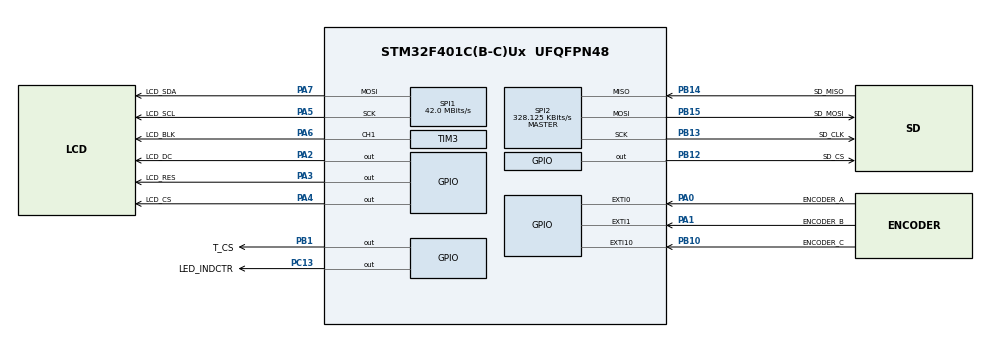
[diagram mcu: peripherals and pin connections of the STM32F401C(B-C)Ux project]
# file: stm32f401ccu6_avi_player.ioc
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Dma.Request0=SPI2_RX
Dma.Request1=SPI2_TX
Dma.Request2=SPI1_TX
Dma.SPI1_TX.2.Direction=DMA_MEMORY_TO_PERIPH
Dma.SPI1_TX.2.FIFOMode=DMA_FIFOMODE_ENABLE
Dma.SPI1_TX.2.FIFOThreshold=DMA_FIFO_THRESHOLD_FULL
Dma.SPI1_TX.2.Instance=DMA2_Stream3
Dma.SPI1_TX.2.MemBurst=DMA_MBURST_INC8
Dma.SPI1_TX.2.MemDataAlignment=DMA_MDATAALIGN_HALFWORD
Dma.SPI1_TX.2.MemInc=DMA_MINC_ENABLE
Dma.SPI1_TX.2.Mode=DMA_NORMAL
Dma.SPI1_TX.2.PeriphBurst=DMA_PBURST_SINGLE
Dma.SPI1_TX.2.PeriphDataAlignment=DMA_PDATAALIGN_HALFWORD
Dma.SPI1_TX.2.PeriphInc=DMA_PINC_DISABLE
Dma.SPI1_TX.2.Priority=DMA_PRIORITY_LOW
Dma.SPI2_RX.0.Direction=DMA_PERIPH_TO_MEMORY
Dma.SPI2_RX.0.FIFOMode=DMA_FIFOMODE_ENABLE
Dma.SPI2_RX.0.FIFOThreshold=DMA_FIFO_THRESHOLD_FULL
Dma.SPI2_RX.0.Instance=DMA1_Stream3
Dma.SPI2_RX.0.MemBurst=DMA_MBURST_INC8
Dma.SPI2_RX.0.MemDataAlignment=DMA_MDATAALIGN_BYTE
Dma.SPI2_RX.0.MemInc=DMA_MINC_ENABLE
Dma.SPI2_RX.0.Mode=DMA_NORMAL
Dma.SPI2_RX.0.PeriphBurst=DMA_PBURST_SINGLE
Dma.SPI2_RX.0.PeriphDataAlignment=DMA_PDATAALIGN_BYTE
Dma.SPI2_RX.0.PeriphInc=DMA_PINC_DISABLE
Dma.SPI2_RX.0.Priority=DMA_PRIORITY_MEDIUM
Dma.SPI2_TX.1.Direction=DMA_MEMORY_TO_PERIPH
Dma.SPI2_TX.1.FIFOMode=DMA_FIFOMODE_ENABLE
Dma.SPI2_TX.1.FIFOThreshold=DMA_FIFO_THRESHOLD_FULL
Dma.SPI2_TX.1.Instance=DMA1_Stream4
Dma.SPI2_TX.1.MemBurst=DMA_MBURST_INC8
Dma.SPI2_TX.1.MemDataAlignment=DMA_MDATAALIGN_BYTE
Dma.SPI2_TX.1.MemInc=DMA_MINC_ENABLE
Dma.SPI2_TX.1.Mode=DMA_NORMAL
Dma.SPI2_TX.1.PeriphBurst=DMA_PBURST_SINGLE
Dma.SPI2_TX.1.PeriphDataAlignment=DMA_PDATAALIGN_BYTE
Dma.SPI2_TX.1.PeriphInc=DMA_PINC_DISABLE
Dma.SPI2_TX.1.Priority=DMA_PRIORITY_MEDIUM
Mcu.Family=STM32F4
Mcu.Name=STM32F401C(B-C)Ux
Mcu.Package=UFQFPN48
NVIC.DMA1_Stream3_IRQn=true\:2\:0\:true\:false\:true\:false\:true\:true
NVIC.DMA1_Stream4_IRQn=true\:2\:0\:true\:false\:true\:false\:true\:true
NVIC.DMA2_Stream3_IRQn=true\:3\:0\:true\:false\:true\:false\:true\:true
NVIC.EXTI0_IRQn=true\:1\:0\:true\:false\:true\:true\:true\:true
NVIC.EXTI15_10_IRQn=true\:1\:0\:true\:false\:true\:true\:true\:true
NVIC.EXTI1_IRQn=true\:1\:0\:true\:false\:true\:true\:true\:true
NVIC.PriorityGroup=NVIC_PRIORITYGROUP_4
PA0-WKUP.GPIO_Label=ENCODER_A
PA0-WKUP.GPIO_ModeDefaultEXTI=GPIO_MODE_IT_RISING_FALLING
PA0-WKUP.GPIO_PuPd=GPIO_PULLUP
PA0-WKUP.Signal=GPXTI0
PA1.GPIO_Label=ENCODER_B
PA1.GPIO_ModeDefaultEXTI=GPIO_MODE_IT_RISING_FALLING
PA1.GPIO_PuPd=GPIO_PULLUP
PA1.Signal=GPXTI1
PA13.Mode=Serial_Wire
PA13.Signal=SYS_JTMS-SWDIO
PA14.Mode=Serial_Wire
PA14.Signal=SYS_JTCK-SWCLK
PA2.GPIO_Label=LCD_DC
PA2.GPIO_Speed=GPIO_SPEED_FREQ_HIGH
PA2.PinState=GPIO_PIN_SET
PA2.Signal=GPIO_Output
PA3.GPIO_Label=LCD_RES
PA3.GPIO_Speed=GPIO_SPEED_FREQ_HIGH
PA3.PinState=GPIO_PIN_SET
PA3.Signal=GPIO_Output
PA4.GPIO_Label=LCD_CS
PA4.GPIO_PuPd=GPIO_PULLUP
PA4.GPIO_Speed=GPIO_SPEED_FREQ_HIGH
PA4.PinState=GPIO_PIN_SET
PA4.Signal=GPIO_Output
PA5.GPIO_Label=LCD_SCL
PA5.GPIO_PuPd=GPIO_NOPULL
PA5.Mode=TX_Only_Simplex_Unidirect_Master
PA5.Signal=SPI1_SCK
PA6.GPIO_Label=LCD_BLK
PA6.Signal=S_TIM3_CH1
PA7.GPIO_Label=LCD_SDA
PA7.GPIO_PuPd=GPIO_NOPULL
PA7.Mode=TX_Only_Simplex_Unidirect_Master
PA7.Signal=SPI1_MOSI
PB1.GPIO_Label=T_CS
PB1.GPIO_PuPd=GPIO_PULLUP
PB1.GPIO_Speed=GPIO_SPEED_FREQ_HIGH
PB1.PinState=GPIO_PIN_SET
PB1.Signal=GPIO_Output
PB10.GPIO_Label=ENCODER_C
PB10.GPIO_ModeDefaultEXTI=GPIO_MODE_IT_RISING_FALLING
PB10.GPIO_PuPd=GPIO_PULLUP
PB10.Signal=GPXTI10
PB12.GPIO_Label=SD_CS
PB12.GPIO_PuPd=GPIO_PULLUP
PB12.GPIO_Speed=GPIO_SPEED_FREQ_HIGH
PB12.PinState=GPIO_PIN_SET
PB12.Signal=GPIO_Output
PB13.GPIO_Label=SD_CLK
PB13.GPIO_PuPd=GPIO_PULLUP
PB13.Mode=Full_Duplex_Master
PB13.Signal=SPI2_SCK
PB14.GPIO_Label=SD_MISO
PB14.GPIO_PuPd=GPIO_PULLUP
PB14.Mode=Full_Duplex_Master
PB14.Signal=SPI2_MISO
PB15.GPIO_Label=SD_MOSI
PB15.GPIO_PuPd=GPIO_PULLUP
PB15.Mode=Full_Duplex_Master
PB15.Signal=SPI2_MOSI
PC13-ANTI_TAMP.GPIO_Label=LED_INDCTR
PC13-ANTI_TAMP.PinState=GPIO_PIN_SET
PC13-ANTI_TAMP.Signal=GPIO_Output
PH0\ -\ OSC_IN.Mode=HSE-External-Oscillator
PH0\ -\ OSC_IN.Signal=RCC_OSC_IN
PH1\ -\ OSC_OUT.Mode=HSE-External-Oscillator
PH1\ -\ OSC_OUT.Signal=RCC_OSC_OUT
ProjectManager.HeapSize=0x200
ProjectManager.StackSize=0x400
ProjectManager.TargetToolchain=STM32CubeIDE
RCC.48MHZClocksFreq_Value=42000000
RCC.AHBFreq_Value=84000000
RCC.APB1CLKDivider=RCC_HCLK_DIV2
RCC.APB1Freq_Value=42000000
RCC.APB1TimFreq_Value=84000000
RCC.APB2Freq_Value=84000000
RCC.APB2TimFreq_Value=84000000
RCC.CortexFreq_Value=84000000
RCC.EnbaleCSS=true
RCC.HCLKFreq_Value=84000000
RCC.HSE_VALUE=25000000
RCC.HSI_VALUE=16000000
RCC.LSE_VALUE=32768
RCC.PLLM=25
RCC.PLLN=168
RCC.PLLSourceVirtual=RCC_PLLSOURCE_HSE
RCC.SYSCLKFreq_VALUE=84000000
RCC.SYSCLKSource=RCC_SYSCLKSOURCE_PLLCLK
RCC.VCOOutputFreq_Value=168000000
RCC.VDD_VALUE=3.4
SH.S_TIM3_CH1.0=TIM3_CH1,PWM Generation1 CH1
SPI1.CLKPolarity=SPI_POLARITY_LOW
SPI1.CalculateBaudRate=42.0 MBits/s
SPI1.DataSize=SPI_DATASIZE_16BIT
SPI1.Direction=SPI_DIRECTION_2LINES
SPI1.Mode=SPI_MODE_MASTER
SPI1.VirtualType=VM_MASTER
SPI2.BaudRatePrescaler=SPI_BAUDRATEPRESCALER_128
SPI2.CalculateBaudRate=328.125 KBits/s
SPI2.DataSize=SPI_DATASIZE_8BIT
SPI2.Direction=SPI_DIRECTION_2LINES
SPI2.Mode=SPI_MODE_MASTER
SPI2.VirtualType=VM_MASTER
TIM3.Channel-PWM\ Generation1\ CH1=TIM_CHANNEL_1
TIM3.Period=209
TIM3.Prescaler=999
TIM3.Pulse-PWM\ Generation1\ CH1=105
board=custom

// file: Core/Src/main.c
/* USER CODE BEGIN Header */
/*
 *  Copyright (C)2019-2023, VadRov, all right reserved.
 *
 *  Видеоплеер для проигрывания AVI-файлов (файл с расширением avi, контейнер riff)
 *
 *  Допускается свободное распространение.
 *  При любом способе распространения указание автора ОБЯЗАТЕЛЬНО.
 *  В случае внесения изменений и распространения модификаций указание первоначального автора ОБЯЗАТЕЛЬНО.
 *  Распространяется по типу "как есть", то есть использование осуществляется на свой страх и риск.
 *  Автор не предоставляет никаких гарантий.
 *
 *  В файле display_config.h (папка Display) определяется разрешение применяемого дисплея (320x240 или
 *  240x240), а также контроллер дисплея: ST7789 либо ILI9341. Ненужные строки комментируются, а остаются
 *  только те, которые соответствуют фактически применяемому дисплейному модулю. По умолчанию проект настроен
 *  на использование дисплейного модуля разрешением 320x240 пикселей на контроллере ILI9341.
 *
 *  Требования к формату AVI:
 *  - поток видео mjpeg (motion jpeg), т.е. видеокадры должны быть закодированы jpeg кодеком;
 *  - поток аудио mp3, т.е. звук должен быть закодирован mp3 кодеком.
 *
 *  Размер кадра изображения выбирайте исходя из параметров имеющегося дисплея.
 *  Для преобразования видеофайла к поддерживаемому плеером формату рекомендуется использовать
 *  библиотеку ffmpeg. Например, следующая командная строка преобразует mp4-видео в
 *  поддерживаемый плеером формат avi с размером кадра 320х240, частотой 25 кадров в секунду,
 *  с качеством кодирования 15:
 *  	ffmpeg -i video.mp4 -c:a mp3 -c:v mjpeg -s 320x240 -r 25 -q 15 video.avi
 *  где:
 *  	-i video.mp4 - указание на файл-источник, который вы хотите преобразовать в поддерживаемый
 *  плееером формат avi;
 *  	video.avi - выходной файл с расширением avi, в котором будет сохранен результат преобразования;
 *  	-c:a mp3 - указание на то, что "звуковая дорожка" (аудиопоток) в выходном файле должна быть в
 *  формате кодека mp3;
 *  	-c:v mjpeg - указание на то, что "видео дорожка" (видеопоток) в выходном файле должна быть в формате
 *  кодека mjpeg (набор картинок, закодированных кодеком jpeg, т.н., motion jpeg);
 *  	-s 320x240 - указание на размер видеокадра в выходном файле avi (ширина, высота);
 *  	-r 25 - указание на частоту видеокадров в выходном файле avi (кадров в секунду);
 *  	-q 15 - указание на качество кодирования файла avi (от 1 (наилучшее) до 31 (наихудшее)).
 *  Качество звука можно задать ключом -b, означающим bitrate (скорость потока в бит/с).
 *  Например, такой ключ, как,  -b:a 128k, задаст для звукового потока скорость в 128 кбит/с, что считается
 *  для кодека mp3 начальным уровнем при кодировании музыкальных данных (32-96 кбит/с достаточно для
 *  кодирования речи, а от 96 кбит/с и более - музыки низкого качества). Потока в 256 кбит/с достаточно
 *  для высокого качества музыки при кодировании mp3. 320 кбит/с - предел для кодека mp3.
 *  При преобразовании видео учитывайте соотношение сторон кадра исходного видео. Например, если
 *  исходное видео имело соотношение сторон кадра 16:9, то при использовании дисплея с шириной 320
 *  пикселей, высота выходного кадра должна быть 180 пикселей. Т.е. параметр s для приведенного
 *  примера должен быть задан в виде 320х180. Если соотношение сторон исходного кадра 4:3, то при
 *  использовании дисплея с шириной 320 пикселей высота выходного кадра должна быть 240 пикселей.
 *  Т.е. параметр s для этого примера должен быть задан в виде 320х240.
 *  Параметр q определяет качество кодирования и может принимать значения от 1 до 31. С увеличением
 *  q качество снижается, а с уменьшением - увеличивается. Этот параметр, естественно, влияет
 *  на производительность программного декодера jpeg. Золотая середина этого параметра 15-20. При значении 15
 *  для stm32f401ccu6, работающем на частоте 84 МГц, декодер jpeg для кадра размером 320х240 показывает
 *  производительность от 11 до 25 кадров в секунду (40 - 90 мс на декодирование одного кадра изображения),
 *  одновременно декодируя mp3 поток.
 *  Плеер обеспечивает неплохую синхронизацию аудио и видеопотоков. Причем, подсчет времени
 *  воспроизведения, а, соответственно, и синхронизация аудио с видео осуществляются по прерываниям
 *  потока DMA, обслуживающего DAC. В прерывании потока DMA, обслуживающего DAC, увеличивается счетчик
 *  длительности воспроизведения, рассчитываемой по аудиокадрам, на величину длительности воспроизведения звукового
 *  кадра, определяемую по формуле:
 *  						d = 1000000 * samples / samplerate,
 *  где samples - количество сэмплов в кадре, samplerate - частота дискретизации/сэмплирования(Гц),
 *  d - длительность воспроизведения звукового кадра (мкс).
 *	Таким образом, при воспроизведении нет привязки к реальному времени. Ход внутреннего времени плеера
 *	задает тактирование модуля I2S. Расхождение от реального времени определяется разницей между заданной
 *	и реальной частотой дискретизации/сэмплирования. Так, для частоты дискретизации 44100 Гц реальная
 *	частота дискретизации составляет 44100.46875 Гц при 16-битном формате данных и 44099.50781 Гц
 *	при 32-битном формате данных в случае использования кварцевого резонатора на 25 Мгц и встроенного модуля
 *	I2S PLL stm32f401ccu6. Т.е. в обоих случаях ошибка не превышает 0.0011% (см. таблицу 91, RM0368 REV 5).
 *	Синхронизация аудио и видео осуществляется в пределах времени отображения одного видеокадра. Это время
 *	определяется из соответствующего поля avi файла (dwMicroSecPerFrame, время отображения кадра в мкс).
 *	С каждым новым видеокадром (не важно при этом пропущен он или показан) общее время воспроизведения,
 *	рассчитываемое по видеокадрам, увеличивается на указанную величину. В свою очередь, с каждым
 *	воспроизведенным аудиокадром увеличивается на величину d общее время воспроизведения, рассчитываемое
 *	по аудиокадрам (в прерывании потока DMA, обслуживающего DAC). По разнице между этими значениями времени
 *	плеер принимает одно из трех решений:
 *		 - декодировать видеокадр, если разница времени не превышает длительности отображения одного
 *		 видеокадра;
 *		 - пропустить декодирование видеокадра (переход на следующий видеокадр с инкрементом счетчика
 *		 воспроизведения для видео), если время, рассчитываемое по видеокадрам, отстает от времени,
 *		 рассчитанного по воспроизведенным аудиокадрам;
 *		 - организовать задержку, равную разнице времени (после чего перейти к декодированию кадра), если
 *		 время, расчитанное по видеокадрам, превышает время, рассчитанное по аудиокадрам.
 *
 *  Демонстрируемый проект использует следующие драйвера, модули, библиотеки ...:
 *
 *  Для декодирования jpeg изображений используется модифицированная и оптимизированная для stm32
 *  библиотека TJpgDec - Tiny JPEG Decompressor R0.03 (папка JPEG)
 *  Portions copyright (C) 2021, ChaN,   all right reserved.
 *  Portions сopyright (C) 2022-2023, VadRov, all right reserved.
 *
 *  Для работы с SD картой используется драйвер SD карты (папка FATFS)
 *  Portions copyright (C) 2014, ChaN, all rights reserved.
 *  Portions copyright (C) 2017, kiwih, all rights reserved.
 *  Portions сopyright (C) 2019, VadRov, all right reserved.
 *
 *  Для работы с файловой системой используется библиотека FatFs -
 *  Generic FAT Filesystem Module  R0.15 w/patch1 (папка FATFS)
 *  Copyright (C) 2022, ChaN, all right reserved.
 *
 *  Драйвер DAC на базе PCM5102 (папка PCM5102)
 *  Copyright (C) 2019, VadRov, all right reserved.
 *
 *  Драйвер дисплея V1.4 с вариантом "ASM-турбо" (папка Display)
 *  Copyright (C) 2019-2023 VadRov, all right reserved.
 *
 *  Fixed-point MP3 decoder (папка MP3Helix)
 *  Portions Copyright (c) 1995-2002 RealNetworks, Inc. All Rights Reserved.
 *
 *  Файловый менеджер (папка FileManager)
 *  Copyright (C) 2022, VadRov, all right reserved.
 *
 *  Модуль для работы с кнопоками (папка Keyboard)
 *  Copyright (C) 2021, VadRov, all right reserved.
 *
 *  Графическая библиотека для работы с объектами-примитивами
 *  в двумерном пространстве microGL2D (папка MicroGL2D)
 *  Copyright (C) 2022, VadRov, all right reserved.
 *
 *  Драйвер энкодера для STM32F4 (папка Encoder)
 *  Copyright (C) 2019, VadRov, all right reserved.
 *
 *  Процедуры работы со строками (папка MyString)
 *  Copyright (C) 2019, VadRov, all right reserved.
 *
 *  https://www.youtube.com/@VadRov
 *  https://dzen.ru/vadrov
 *  https://vk.com/vadrov
 *  https://t.me/vadrov_channel
 */
/* USER CODE END Header */
#include "main.h"

/* USER CODE BEGIN Includes */
#include "display.h" 		/* Драйвер/библиотека дисплея */
#include "display_config.h" /* Конфигрурация дисплея (там настройки для вашего дисплейного модуля) */
#if defined(LCD_SIZE_240X240)
#define DISPLAY_SIZE1		240
#define DISPLAY_SIZE2		240
#elif defined(LCD_SIZE_320X240)
#define DISPLAY_SIZE1		320
#define DISPLAY_SIZE2		240
#endif
#if defined(LCD_ILI9341_DRIVER)
#include "ili9341.h" 		/* Поддержка дисплея на базе контроллера ili9341 */
#define DISPLAY_CONTROLLER_WIDTH	ILI9341_CONTROLLER_WIDTH
#define DISPLAY_CONTROLLER_HEIGHT	ILI9341_CONTROLLER_HEIGHT
#define DISPLAY_Init		ILI9341_Init
#define DISPLAY_SetWindow	ILI9341_SetWindow
#define DISPLAY_SleepIn		ILI9341_SleepIn
#define DISPLAY_SleepOut	ILI9341_SleepOut
#elif defined(LCD_ST7789_DRIVER)
#include "st7789.h" 		/* Поддержка дисплея на базе контроллера st7789 */
#define DISPLAY_CONTROLLER_WIDTH	ST7789_CONTROLLER_WIDTH
#define DISPLAY_CONTROLLER_HEIGHT	ST7789_CONTROLLER_HEIGHT
#define DISPLAY_Init		ST7789_Init
#define DISPLAY_SetWindow	ST7789_SetWindow
#define DISPLAY_SleepIn		ST7789_SleepIn
#define DISPLAY_SleepOut	ST7789_SleepOut
#endif
#include "pcm5102.h" 		/* драйвер DAC PCM5102 */
#include "ff.h"		 		/* библиотека FatFS */
#include "avi.h"	 		/* плеер AVI */
#include "filemanager.h"	/* файловый менеджер */
#include "keyboard.h"		/* модуль работы с кнопками */
#include "encoder.h"		/* драйвер энкодера */
/* USER CODE END Includes */

/* USER CODE BEGIN PTD */

//счетчик "системного времени", мс
volatile uint32_t millis = 0;

//Переменные для библиотеки FatFs
char Path[4];
FATFS FatFS;

//Обработчик энкодера
ENCODER_Handler encoder1;

/* USER CODE END PTD */

void SystemClock_Config(void);
static void MX_GPIO_Init(void);
static void MX_DMA_Init(void);
static void MX_SPI2_Init(void);
static void MX_SPI1_Init(void);
static void MX_TIM3_Init(void);

/* USER CODE BEGIN 0 */

static void DWT_init (void)
{
	if (!(CoreDebug->DEMCR & CoreDebug_DEMCR_TRCENA_Msk))	{
		CoreDebug->DEMCR |= CoreDebug_DEMCR_TRCENA_Msk;
	#ifdef __CORE_CM7_H_GENERIC
	        DWT->LAR = 0xC5ACCE55;  //разблокирование доступа к DWT регистру
	#endif
	   DWT->CYCCNT = 0;
	   DWT->CTRL |= DWT_CTRL_CYCCNTENA_Msk;
	}
}

/* USER CODE END 0 */

int main(void)
{
  /* USER CODE BEGIN 1 */
	/* включаем кэширование инструкций, кэширование данных и систему предварительной выборки инструкций */
	FLASH->ACR |= (0x1UL << 9U) | (0x1UL << 10U) | (0x1UL << 8U);
  /* USER CODE END 1 */

  /* MCU Configuration--------------------------------------------------------*/

  /* Reset of all peripherals, Initializes the Flash interface and the Systick. */
  LL_APB2_GRP1_EnableClock(LL_APB2_GRP1_PERIPH_SYSCFG);
  LL_APB1_GRP1_EnableClock(LL_APB1_GRP1_PERIPH_PWR);

  /* System interrupt init*/
  NVIC_SetPriorityGrouping(NVIC_PRIORITYGROUP_4);

  /* SysTick_IRQn interrupt configuration */
  NVIC_SetPriority(SysTick_IRQn, NVIC_EncodePriority(NVIC_GetPriorityGrouping(),15, 0));

  /* Configure the system clock */
  SystemClock_Config();

  /* USER CODE BEGIN SysInit */
	//настраиваем системный таймер (прерывания 1000 раз в секунду)
	SysTick_Config(SystemCoreClock/1000);
  /* USER CODE END SysInit */

  /* Initialize all configured peripherals */
  MX_GPIO_Init();
  MX_DMA_Init();
  MX_SPI2_Init();
  MX_SPI1_Init();
  MX_TIM3_Init();
  /* USER CODE BEGIN 2 */

	//Инициализация I2S3
    Init_DAC();
	DWT_init();

	//------------------- Настройка параметров и инициализация дисплея ---------------------
	LCD_BackLight_data bl_dat = { .htim_bk = TIM3,
		  	  	  	  	  	  	  .channel_htim_bk = LL_TIM_CHANNEL_CH1,
    							  .blk_port = 0,
    							  .blk_pin = 0,
    							  .bk_percent = 75 };

	LCD_DMA_TypeDef hdma_spi1_tx = { .dma = DMA2,
		  	  	  	  	  	  	     .stream = LL_DMA_STREAM_3 };

	LCD_SPI_Connected_data spi_dat = { .spi = SPI1,
  		  							   .dma_tx = hdma_spi1_tx,
   									   .reset_port = LCD_RES_GPIO_Port,
   									   .reset_pin = LCD_RES_Pin,
   									   .dc_port = LCD_DC_GPIO_Port,
   									   .dc_pin = LCD_DC_Pin,
   									   .cs_port = LCD_CS_GPIO_Port,
   									   .cs_pin = LCD_CS_Pin  };
#ifndef LCD_DYNAMIC_MEM
LCD_Handler lcd1;
#endif
LCD = LCD_DisplayAdd( LCD,
#ifndef LCD_DYNAMIC_MEM
	  	  	  	  	  &lcd1,
#endif
					  DISPLAY_SIZE1,
					  DISPLAY_SIZE2,
					  DISPLAY_CONTROLLER_WIDTH,
					  DISPLAY_CONTROLLER_HEIGHT,
					  /* Задаем смещение по ширине и высоте для нестандартных или бракованных дисплеев: */
					  0,	/* смещение по ширине дисплейной матрицы */
					  0,	/* смещение по высоте дисплейной матрицы */
					  PAGE_ORIENTATION_LANDSCAPE,
					  DISPLAY_Init,
					  DISPLAY_SetWindow,
					  DISPLAY_SleepIn,
					  DISPLAY_SleepOut,
					  &spi_dat,
					  LCD_DATA_16BIT_BUS,
					  bl_dat );

	LCD_Handler *lcd = LCD; //указатель на первый дисплей в списке
	LCD_Init(lcd);
	LCD_Fill(lcd, 0x319bb1);
	//------------------------------------------------------------------------------------------

	//----------------------------------- Монтирование диска -----------------------------------
	(void)f_mount(&FatFS, Path, 0);
	//------------------------------------------------------------------------------------------

	/* ---------------------------- Настройка файлового менеджера ---------------------------- */
	/* Определение цветовой схемы */
	File_Manager_Color_Scheme color_scheme_pl = { COLOR_YELLOW,		/* цвет текста наименования каталога */
			  	  	  	  	  	  	  	  	  	  COLOR_WHITE,		/* цвет текста наименования файла */
												  COLOR_BLACK,		/* цвет текста выбранного файла/каталога */
												  0x319bb1,			/* цвет фона окна менеджера (для пустых строк) */
												  0x319bb1,			/* цвет фона четных строк */
												  0x319bb1,			/* цвет фона нечетных строк */
												  COLOR_LIGHTGREY,	/* цвет курсора текущего файла/каталога */
												  COLOR_LIGHTGREY,	/* цвет ползунка вертикальной прокрутки */
												  0x319bb1,			/* цвет полосы вертикальной прокрутки */
												  1					/* флаг закрашивания курсора:
																  	  	  0 - текст выбранного файла/каталога обводится
																  	  	  	  прямоугольником цвета курсора (cursor_color).
														 	 	  	  	  >0 - фон текста выбранного файла/каталога приравнивается
														 	 	  	  	  	  цвету курсора (cursor_color) */
												 	 };

	File_Manager_Handler *fm = FileManagerNew();	/* Создание обработчика файлового менеджера */
	fm->SetDisplay(fm, lcd);						/* Дисплей, на который выводится файловый менеджер (указатель) */
	fm->SetWin(fm, 0, 0, lcd->Width, lcd->Height);/* Параметры окна файлового менеджера:
	  	  	  	  	  	  	  	  	  	  	  	  	   - позиция левого верхнего угла окна по горизонтали;
	  	  	  	  	  	  	  	  	  	  	  	  	   - позиция левого верхнего угла окна по вертикали;
	  	  	  	  	  	  	  	  	  	  	  	  	   - ширина окна;
	  	  	  	  	  	  	  	  	  	  	  	  	   - высота окна. */
	fm->SetColor(fm, &color_scheme_pl);				 /* Цветовая схема (указатель) */
	fm->SetFont(fm, &Font_8x13);					 /* Шрифт (указатель) */
	fm->SetKeys(fm, KEYB_UP, KEYB_DOWN, KEYB_RIGHT); /* Кнопки управления:
	   	   	   	   	   	   	   	   	   	   	   	   	    - номер бита кнопки вверх;
	   	   	   	   	   	   	   	   	   	   	   	   	    - номер бита кнопки вниз;
	   	   	   	   	   	   	   	   	   	   	   	   	    - номер бита кнопки ввод/выбор. */
	//-----------------------------------------------------------------------------------------

	//----------------------------------- Настройка энкодера ----------------------------------
	//Будем работать с модулем Keyboard и эмулировать для него нажатие кнопок через
	//специальную функцию, связывающую обработчик энкодера с модулем для работы с кнопками.
	//Такую роль выполняет функция EncoderEventToKeyboard, находящаяся в файле stm32f4xx_it.c
	KEYB_all_button = 3; //Используем 3 кнопки для модуля Keyboard
	//Инициализируем обработчик энкодера
	EncoderInit(&encoder1,
				ENCODER_A_GPIO_Port,
				ENCODER_A_Pin,
				ENCODER_B_GPIO_Port,
				ENCODER_B_Pin,
				ENCODER_C_GPIO_Port,
				ENCODER_C_Pin);
	EncoderSetInversion(&encoder1, ENCODER_INV_OFF); //Если энкодер работает в противоположную сторону
													 //от ожидаемого направления, то здесь можно задать
													 //инверсию для энкодера, передав функции параметр ENCODER_INV_ON.
													 //Это позволит не переподключать выводы энкодера A и B.
	//------------------------------------------------------------------------------------------

	//Заставка с информацией о программе и авторе
	AVIIntro(lcd);

	uint8_t f_popup = 1;
  /* USER CODE END 2 */

  /* Infinite loop */
  /* USER CODE BEGIN WHILE */
    while (1)
    {
		/* Заливаем дисплей синим цветом (цветом фона файлового менеджера) */
    	LCD_Fill(lcd, 0x319bb1);
		/* "Всплывающее" окно файлового менеджера */
		if (f_popup) {
			FileManagerPopupWin(fm, 5);
			f_popup = 0;
		}
		/* Запуск менеджера файлов */
		fm->Show(fm);
		/* Проверка статуса завершения работы менеджера файлов */
		if (fm->GetStatus(fm) == File_Manager_OK) { /* Завершение без ошибок с выбором файла? */
			/* Запускаем видеооплеер */
			PlayAVI(fm->GetFilePath(fm), fm->GetFileName(fm), lcd, 0, 0, lcd->Width, lcd->Height);
		}
		else {
			/* Выводим сообщение, что работа файлового менеджера завершена с ошибкой */
			LCD_WriteString(lcd, 20, 0, "Error FileManager!", fm->font, fm->color_scheme->text_color_file, fm->color_scheme->bg_color, LCD_SYMBOL_PRINT_FAST);
			/* Ожидаем нажатия любой кнопки */
			while(!KEYB_kbhit()) { }
		}

    /* USER CODE END WHILE */

    }
}

void SystemClock_Config(void)
{
  LL_FLASH_SetLatency(LL_FLASH_LATENCY_2);
  while(LL_FLASH_GetLatency()!= LL_FLASH_LATENCY_2)
  {
  }
  LL_PWR_SetRegulVoltageScaling(LL_PWR_REGU_VOLTAGE_SCALE2);
  LL_RCC_HSE_Enable();

   /* Wait till HSE is ready */
  while(LL_RCC_HSE_IsReady() != 1)
  {

  }
  LL_RCC_HSE_EnableCSS();
  LL_RCC_PLL_ConfigDomain_SYS(LL_RCC_PLLSOURCE_HSE, LL_RCC_PLLM_DIV_25, 168, LL_RCC_PLLP_DIV_2);
  LL_RCC_PLL_Enable();

   /* Wait till PLL is ready */
  while(LL_RCC_PLL_IsReady() != 1)
  {

  }
  while (LL_PWR_IsActiveFlag_VOS() == 0)
  {
  }
  LL_RCC_SetAHBPrescaler(LL_RCC_SYSCLK_DIV_1);
  LL_RCC_SetAPB1Prescaler(LL_RCC_APB1_DIV_2);
  LL_RCC_SetAPB2Prescaler(LL_RCC_APB2_DIV_1);
  LL_RCC_SetSysClkSource(LL_RCC_SYS_CLKSOURCE_PLL);

   /* Wait till System clock is ready */
  while(LL_RCC_GetSysClkSource() != LL_RCC_SYS_CLKSOURCE_STATUS_PLL)
  {

  }
  LL_Init1msTick(84000000);
  LL_SetSystemCoreClock(84000000);
  LL_RCC_SetTIMPrescaler(LL_RCC_TIM_PRESCALER_TWICE);
}

static void MX_SPI1_Init(void)
{

  LL_SPI_InitTypeDef SPI_InitStruct = {0};

  LL_GPIO_InitTypeDef GPIO_InitStruct = {0};

  /* Peripheral clock enable */
  LL_APB2_GRP1_EnableClock(LL_APB2_GRP1_PERIPH_SPI1);

  LL_AHB1_GRP1_EnableClock(LL_AHB1_GRP1_PERIPH_GPIOA);
  /**SPI1 GPIO Configuration
  PA5   ------> SPI1_SCK
  PA7   ------> SPI1_MOSI
  */
  GPIO_InitStruct.Pin = LCD_SCL_Pin|LCD_SDA_Pin;
  GPIO_InitStruct.Mode = LL_GPIO_MODE_ALTERNATE;
  GPIO_InitStruct.Speed = LL_GPIO_SPEED_FREQ_VERY_HIGH;
  GPIO_InitStruct.OutputType = LL_GPIO_OUTPUT_PUSHPULL;
  GPIO_InitStruct.Pull = LL_GPIO_PULL_NO;
  GPIO_InitStruct.Alternate = LL_GPIO_AF_5;
  LL_GPIO_Init(GPIOA, &GPIO_InitStruct);

  /* SPI1 DMA Init */

  /* SPI1_TX Init */
  LL_DMA_SetChannelSelection(DMA2, LL_DMA_STREAM_3, LL_DMA_CHANNEL_3);

  LL_DMA_SetDataTransferDirection(DMA2, LL_DMA_STREAM_3, LL_DMA_DIRECTION_MEMORY_TO_PERIPH);

  LL_DMA_SetStreamPriorityLevel(DMA2, LL_DMA_STREAM_3, LL_DMA_PRIORITY_LOW);

  LL_DMA_SetMode(DMA2, LL_DMA_STREAM_3, LL_DMA_MODE_NORMAL);

  LL_DMA_SetPeriphIncMode(DMA2, LL_DMA_STREAM_3, LL_DMA_PERIPH_NOINCREMENT);

  LL_DMA_SetMemoryIncMode(DMA2, LL_DMA_STREAM_3, LL_DMA_MEMORY_INCREMENT);

  LL_DMA_SetPeriphSize(DMA2, LL_DMA_STREAM_3, LL_DMA_PDATAALIGN_HALFWORD);

  LL_DMA_SetMemorySize(DMA2, LL_DMA_STREAM_3, LL_DMA_MDATAALIGN_HALFWORD);

  LL_DMA_EnableFifoMode(DMA2, LL_DMA_STREAM_3);

  LL_DMA_SetFIFOThreshold(DMA2, LL_DMA_STREAM_3, LL_DMA_FIFOTHRESHOLD_FULL);

  LL_DMA_SetMemoryBurstxfer(DMA2, LL_DMA_STREAM_3, LL_DMA_MBURST_INC8);

  LL_DMA_SetPeriphBurstxfer(DMA2, LL_DMA_STREAM_3, LL_DMA_PBURST_SINGLE);

  /* SPI1 parameter configuration*/
  SPI_InitStruct.TransferDirection = LL_SPI_FULL_DUPLEX;
  SPI_InitStruct.Mode = LL_SPI_MODE_MASTER;
  SPI_InitStruct.DataWidth = LL_SPI_DATAWIDTH_16BIT;
  SPI_InitStruct.ClockPolarity = LL_SPI_POLARITY_LOW;
  SPI_InitStruct.ClockPhase = LL_SPI_PHASE_1EDGE;
  SPI_InitStruct.NSS = LL_SPI_NSS_SOFT;
  SPI_InitStruct.BaudRate = LL_SPI_BAUDRATEPRESCALER_DIV2;
  SPI_InitStruct.BitOrder = LL_SPI_MSB_FIRST;
  SPI_InitStruct.CRCCalculation = LL_SPI_CRCCALCULATION_DISABLE;
  SPI_InitStruct.CRCPoly = 10;
  LL_SPI_Init(SPI1, &SPI_InitStruct);
  LL_SPI_SetStandard(SPI1, LL_SPI_PROTOCOL_MOTOROLA);
  /* USER CODE BEGIN SPI1_Init 2 */
#if defined(LCD_ILI9341_DRIVER)
  LL_GPIO_SetPinPull(LCD_SCL_GPIO_Port, LCD_SCL_Pin, LL_GPIO_PULL_NO);
  LL_GPIO_SetPinPull(LCD_SDA_GPIO_Port, LCD_SDA_Pin, LL_GPIO_PULL_NO);
  LL_SPI_SetClockPolarity(SPI1, LL_SPI_POLARITY_LOW);
#elif  defined(LCD_ST7789_DRIVER)
  LL_GPIO_SetPinPull(LCD_SCL_GPIO_Port, LCD_SCL_Pin, LL_GPIO_PULL_UP);
  LL_GPIO_SetPinPull(LCD_SDA_GPIO_Port, LCD_SDA_Pin, LL_GPIO_PULL_UP);
  LL_SPI_SetClockPolarity(SPI1, LL_SPI_POLARITY_HIGH);
#endif
  /* USER CODE END SPI1_Init 2 */

}

static void MX_SPI2_Init(void)
{

  LL_SPI_InitTypeDef SPI_InitStruct = {0};

  LL_GPIO_InitTypeDef GPIO_InitStruct = {0};

  /* Peripheral clock enable */
  LL_APB1_GRP1_EnableClock(LL_APB1_GRP1_PERIPH_SPI2);

  LL_AHB1_GRP1_EnableClock(LL_AHB1_GRP1_PERIPH_GPIOB);
  /**SPI2 GPIO Configuration
  PB13   ------> SPI2_SCK
  PB14   ------> SPI2_MISO
  PB15   ------> SPI2_MOSI
  */
  GPIO_InitStruct.Pin = SD_CLK_Pin|SD_MISO_Pin|SD_MOSI_Pin;
  GPIO_InitStruct.Mode = LL_GPIO_MODE_ALTERNATE;
  GPIO_InitStruct.Speed = LL_GPIO_SPEED_FREQ_VERY_HIGH;
  GPIO_InitStruct.OutputType = LL_GPIO_OUTPUT_PUSHPULL;
  GPIO_InitStruct.Pull = LL_GPIO_PULL_UP;
  GPIO_InitStruct.Alternate = LL_GPIO_AF_5;
  LL_GPIO_Init(GPIOB, &GPIO_InitStruct);

  /* SPI2 DMA Init */

  /* SPI2_RX Init */
  LL_DMA_SetChannelSelection(DMA1, LL_DMA_STREAM_3, LL_DMA_CHANNEL_0);

  LL_DMA_SetDataTransferDirection(DMA1, LL_DMA_STREAM_3, LL_DMA_DIRECTION_PERIPH_TO_MEMORY);

  LL_DMA_SetStreamPriorityLevel(DMA1, LL_DMA_STREAM_3, LL_DMA_PRIORITY_MEDIUM);

  LL_DMA_SetMode(DMA1, LL_DMA_STREAM_3, LL_DMA_MODE_NORMAL);

  LL_DMA_SetPeriphIncMode(DMA1, LL_DMA_STREAM_3, LL_DMA_PERIPH_NOINCREMENT);

  LL_DMA_SetMemoryIncMode(DMA1, LL_DMA_STREAM_3, LL_DMA_MEMORY_INCREMENT);

  LL_DMA_SetPeriphSize(DMA1, LL_DMA_STREAM_3, LL_DMA_PDATAALIGN_BYTE);

  LL_DMA_SetMemorySize(DMA1, LL_DMA_STREAM_3, LL_DMA_MDATAALIGN_BYTE);

  LL_DMA_EnableFifoMode(DMA1, LL_DMA_STREAM_3);

  LL_DMA_SetFIFOThreshold(DMA1, LL_DMA_STREAM_3, LL_DMA_FIFOTHRESHOLD_FULL);

  LL_DMA_SetMemoryBurstxfer(DMA1, LL_DMA_STREAM_3, LL_DMA_MBURST_INC8);

  LL_DMA_SetPeriphBurstxfer(DMA1, LL_DMA_STREAM_3, LL_DMA_PBURST_SINGLE);

  /* SPI2_TX Init */
  LL_DMA_SetChannelSelection(DMA1, LL_DMA_STREAM_4, LL_DMA_CHANNEL_0);

  LL_DMA_SetDataTransferDirection(DMA1, LL_DMA_STREAM_4, LL_DMA_DIRECTION_MEMORY_TO_PERIPH);

  LL_DMA_SetStreamPriorityLevel(DMA1, LL_DMA_STREAM_4, LL_DMA_PRIORITY_MEDIUM);

  LL_DMA_SetMode(DMA1, LL_DMA_STREAM_4, LL_DMA_MODE_NORMAL);

  LL_DMA_SetPeriphIncMode(DMA1, LL_DMA_STREAM_4, LL_DMA_PERIPH_NOINCREMENT);

  LL_DMA_SetMemoryIncMode(DMA1, LL_DMA_STREAM_4, LL_DMA_MEMORY_INCREMENT);

  LL_DMA_SetPeriphSize(DMA1, LL_DMA_STREAM_4, LL_DMA_PDATAALIGN_BYTE);

  LL_DMA_SetMemorySize(DMA1, LL_DMA_STREAM_4, LL_DMA_MDATAALIGN_BYTE);

  LL_DMA_EnableFifoMode(DMA1, LL_DMA_STREAM_4);

  LL_DMA_SetFIFOThreshold(DMA1, LL_DMA_STREAM_4, LL_DMA_FIFOTHRESHOLD_FULL);

  LL_DMA_SetMemoryBurstxfer(DMA1, LL_DMA_STREAM_4, LL_DMA_MBURST_INC8);

  LL_DMA_SetPeriphBurstxfer(DMA1, LL_DMA_STREAM_4, LL_DMA_PBURST_SINGLE);

  /* SPI2 parameter configuration*/
  SPI_InitStruct.TransferDirection = LL_SPI_FULL_DUPLEX;
  SPI_InitStruct.Mode = LL_SPI_MODE_MASTER;
  SPI_InitStruct.DataWidth = LL_SPI_DATAWIDTH_8BIT;
  SPI_InitStruct.ClockPolarity = LL_SPI_POLARITY_LOW;
  SPI_InitStruct.ClockPhase = LL_SPI_PHASE_1EDGE;
  SPI_InitStruct.NSS = LL_SPI_NSS_SOFT;
  SPI_InitStruct.BaudRate = LL_SPI_BAUDRATEPRESCALER_DIV128;
  SPI_InitStruct.BitOrder = LL_SPI_MSB_FIRST;
  SPI_InitStruct.CRCCalculation = LL_SPI_CRCCALCULATION_DISABLE;
  SPI_InitStruct.CRCPoly = 10;
  LL_SPI_Init(SPI2, &SPI_InitStruct);
  LL_SPI_SetStandard(SPI2, LL_SPI_PROTOCOL_MOTOROLA);

}

static void MX_TIM3_Init(void)
{

  LL_TIM_InitTypeDef TIM_InitStruct = {0};
  LL_TIM_OC_InitTypeDef TIM_OC_InitStruct = {0};

  LL_GPIO_InitTypeDef GPIO_InitStruct = {0};

  /* Peripheral clock enable */
  LL_APB1_GRP1_EnableClock(LL_APB1_GRP1_PERIPH_TIM3);

  TIM_InitStruct.Prescaler = 999;
  TIM_InitStruct.CounterMode = LL_TIM_COUNTERMODE_UP;
  TIM_InitStruct.Autoreload = 209;
  TIM_InitStruct.ClockDivision = LL_TIM_CLOCKDIVISION_DIV1;
  LL_TIM_Init(TIM3, &TIM_InitStruct);
  LL_TIM_DisableARRPreload(TIM3);
  LL_TIM_OC_EnablePreload(TIM3, LL_TIM_CHANNEL_CH1);
  TIM_OC_InitStruct.OCMode = LL_TIM_OCMODE_PWM1;
  TIM_OC_InitStruct.OCState = LL_TIM_OCSTATE_DISABLE;
  TIM_OC_InitStruct.OCNState = LL_TIM_OCSTATE_DISABLE;
  TIM_OC_InitStruct.CompareValue = 105;
  TIM_OC_InitStruct.OCPolarity = LL_TIM_OCPOLARITY_HIGH;
  LL_TIM_OC_Init(TIM3, LL_TIM_CHANNEL_CH1, &TIM_OC_InitStruct);
  LL_TIM_OC_DisableFast(TIM3, LL_TIM_CHANNEL_CH1);
  LL_TIM_SetTriggerOutput(TIM3, LL_TIM_TRGO_RESET);
  LL_TIM_DisableMasterSlaveMode(TIM3);
  LL_AHB1_GRP1_EnableClock(LL_AHB1_GRP1_PERIPH_GPIOA);
  /**TIM3 GPIO Configuration
  PA6   ------> TIM3_CH1
  */
  GPIO_InitStruct.Pin = LCD_BLK_Pin;
  GPIO_InitStruct.Mode = LL_GPIO_MODE_ALTERNATE;
  GPIO_InitStruct.Speed = LL_GPIO_SPEED_FREQ_LOW;
  GPIO_InitStruct.OutputType = LL_GPIO_OUTPUT_PUSHPULL;
  GPIO_InitStruct.Pull = LL_GPIO_PULL_NO;
  GPIO_InitStruct.Alternate = LL_GPIO_AF_2;
  LL_GPIO_Init(LCD_BLK_GPIO_Port, &GPIO_InitStruct);

}

static void MX_DMA_Init(void)
{

  /* Init with LL driver */
  /* DMA controller clock enable */
  LL_AHB1_GRP1_EnableClock(LL_AHB1_GRP1_PERIPH_DMA1);
  LL_AHB1_GRP1_EnableClock(LL_AHB1_GRP1_PERIPH_DMA2);

  /* DMA interrupt init */
  /* DMA1_Stream3_IRQn interrupt configuration */
  NVIC_SetPriority(DMA1_Stream3_IRQn, NVIC_EncodePriority(NVIC_GetPriorityGrouping(),2, 0));
  NVIC_EnableIRQ(DMA1_Stream3_IRQn);
  /* DMA1_Stream4_IRQn interrupt configuration */
  NVIC_SetPriority(DMA1_Stream4_IRQn, NVIC_EncodePriority(NVIC_GetPriorityGrouping(),2, 0));
  NVIC_EnableIRQ(DMA1_Stream4_IRQn);
  /* DMA2_Stream3_IRQn interrupt configuration */
  NVIC_SetPriority(DMA2_Stream3_IRQn, NVIC_EncodePriority(NVIC_GetPriorityGrouping(),3, 0));
  NVIC_EnableIRQ(DMA2_Stream3_IRQn);

}

static void MX_GPIO_Init(void)
{
  LL_EXTI_InitTypeDef EXTI_InitStruct = {0};
  LL_GPIO_InitTypeDef GPIO_InitStruct = {0};

  /* GPIO Ports Clock Enable */
  LL_AHB1_GRP1_EnableClock(LL_AHB1_GRP1_PERIPH_GPIOC);
  LL_AHB1_GRP1_EnableClock(LL_AHB1_GRP1_PERIPH_GPIOH);
  LL_AHB1_GRP1_EnableClock(LL_AHB1_GRP1_PERIPH_GPIOA);
  LL_AHB1_GRP1_EnableClock(LL_AHB1_GRP1_PERIPH_GPIOB);

  /**/
  LL_GPIO_SetOutputPin(LED_INDCTR_GPIO_Port, LED_INDCTR_Pin);

  /**/
  LL_GPIO_SetOutputPin(GPIOA, LCD_DC_Pin|LCD_RES_Pin|LCD_CS_Pin);

  /**/
  LL_GPIO_SetOutputPin(GPIOB, T_CS_Pin|SD_CS_Pin);

  /**/
  GPIO_InitStruct.Pin = LED_INDCTR_Pin;
  GPIO_InitStruct.Mode = LL_GPIO_MODE_OUTPUT;
  GPIO_InitStruct.Speed = LL_GPIO_SPEED_FREQ_LOW;
  GPIO_InitStruct.OutputType = LL_GPIO_OUTPUT_PUSHPULL;
  GPIO_InitStruct.Pull = LL_GPIO_PULL_NO;
  LL_GPIO_Init(LED_INDCTR_GPIO_Port, &GPIO_InitStruct);

  /**/
  GPIO_InitStruct.Pin = LCD_DC_Pin|LCD_RES_Pin;
  GPIO_InitStruct.Mode = LL_GPIO_MODE_OUTPUT;
  GPIO_InitStruct.Speed = LL_GPIO_SPEED_FREQ_HIGH;
  GPIO_InitStruct.OutputType = LL_GPIO_OUTPUT_PUSHPULL;
  GPIO_InitStruct.Pull = LL_GPIO_PULL_NO;
  LL_GPIO_Init(GPIOA, &GPIO_InitStruct);

  /**/
  GPIO_InitStruct.Pin = LCD_CS_Pin;
  GPIO_InitStruct.Mode = LL_GPIO_MODE_OUTPUT;
  GPIO_InitStruct.Speed = LL_GPIO_SPEED_FREQ_HIGH;
  GPIO_InitStruct.OutputType = LL_GPIO_OUTPUT_PUSHPULL;
  GPIO_InitStruct.Pull = LL_GPIO_PULL_UP;
  LL_GPIO_Init(LCD_CS_GPIO_Port, &GPIO_InitStruct);

  /**/
  GPIO_InitStruct.Pin = T_CS_Pin|SD_CS_Pin;
  GPIO_InitStruct.Mode = LL_GPIO_MODE_OUTPUT;
  GPIO_InitStruct.Speed = LL_GPIO_SPEED_FREQ_HIGH;
  GPIO_InitStruct.OutputType = LL_GPIO_OUTPUT_PUSHPULL;
  GPIO_InitStruct.Pull = LL_GPIO_PULL_UP;
  LL_GPIO_Init(GPIOB, &GPIO_InitStruct);

  /**/
  LL_SYSCFG_SetEXTISource(LL_SYSCFG_EXTI_PORTA, LL_SYSCFG_EXTI_LINE0);

  /**/
  LL_SYSCFG_SetEXTISource(LL_SYSCFG_EXTI_PORTA, LL_SYSCFG_EXTI_LINE1);

  /**/
  LL_SYSCFG_SetEXTISource(LL_SYSCFG_EXTI_PORTB, LL_SYSCFG_EXTI_LINE10);

  /**/
  EXTI_InitStruct.Line_0_31 = LL_EXTI_LINE_0;
  EXTI_InitStruct.LineCommand = ENABLE;
  EXTI_InitStruct.Mode = LL_EXTI_MODE_IT;
  EXTI_InitStruct.Trigger = LL_EXTI_TRIGGER_RISING_FALLING;
  LL_EXTI_Init(&EXTI_InitStruct);

  /**/
  EXTI_InitStruct.Line_0_31 = LL_EXTI_LINE_1;
  EXTI_InitStruct.LineCommand = ENABLE;
  EXTI_InitStruct.Mode = LL_EXTI_MODE_IT;
  EXTI_InitStruct.Trigger = LL_EXTI_TRIGGER_RISING_FALLING;
  LL_EXTI_Init(&EXTI_InitStruct);

  /**/
  EXTI_InitStruct.Line_0_31 = LL_EXTI_LINE_10;
  EXTI_InitStruct.LineCommand = ENABLE;
  EXTI_InitStruct.Mode = LL_EXTI_MODE_IT;
  EXTI_InitStruct.Trigger = LL_EXTI_TRIGGER_RISING_FALLING;
  LL_EXTI_Init(&EXTI_InitStruct);

  /**/
  LL_GPIO_SetPinPull(ENCODER_A_GPIO_Port, ENCODER_A_Pin, LL_GPIO_PULL_UP);

  /**/
  LL_GPIO_SetPinPull(ENCODER_B_GPIO_Port, ENCODER_B_Pin, LL_GPIO_PULL_UP);

  /**/
  LL_GPIO_SetPinPull(ENCODER_C_GPIO_Port, ENCODER_C_Pin, LL_GPIO_PULL_UP);

  /**/
  LL_GPIO_SetPinMode(ENCODER_A_GPIO_Port, ENCODER_A_Pin, LL_GPIO_MODE_INPUT);

  /**/
  LL_GPIO_SetPinMode(ENCODER_B_GPIO_Port, ENCODER_B_Pin, LL_GPIO_MODE_INPUT);

  /**/
  LL_GPIO_SetPinMode(ENCODER_C_GPIO_Port, ENCODER_C_Pin, LL_GPIO_MODE_INPUT);

  /* EXTI interrupt init*/
  NVIC_SetPriority(EXTI0_IRQn, NVIC_EncodePriority(NVIC_GetPriorityGrouping(),1, 0));
  NVIC_EnableIRQ(EXTI0_IRQn);
  NVIC_SetPriority(EXTI1_IRQn, NVIC_EncodePriority(NVIC_GetPriorityGrouping(),1, 0));
  NVIC_EnableIRQ(EXTI1_IRQn);
  NVIC_SetPriority(EXTI15_10_IRQn, NVIC_EncodePriority(NVIC_GetPriorityGrouping(),1, 0));
  NVIC_EnableIRQ(EXTI15_10_IRQn);

}

void Error_Handler(void)
{
  __disable_irq();
  while (1)
  {
  }
}
